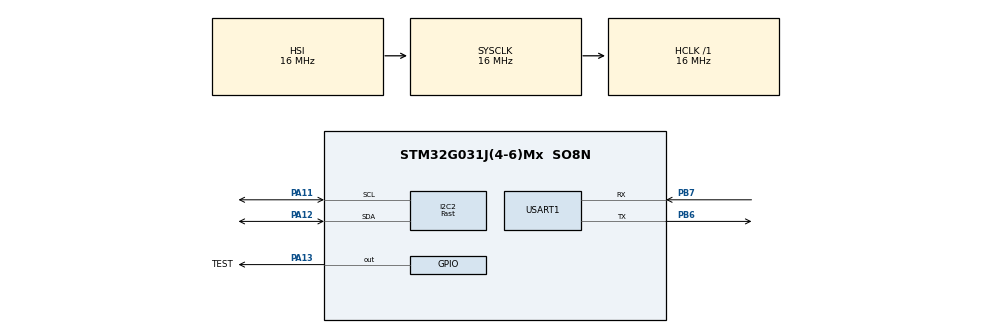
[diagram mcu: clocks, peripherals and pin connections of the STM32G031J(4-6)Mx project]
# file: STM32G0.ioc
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I2C2.I2C_Speed_Mode=I2C_Fast
I2C2.Timing=0x00300617
IWDG.Prescaler=IWDG_PRESCALER_32
IWDG.Reload=1024
IWDG.Window=1024
Mcu.Family=STM32G0
Mcu.Name=STM32G031J(4-6)Mx
Mcu.Package=SO8N
NVIC.TIM14_IRQn=true\:0\:0\:false\:false\:true\:true\:true\:true
NVIC.USART1_IRQn=true\:0\:0\:false\:false\:true\:true\:true\:true
PA11\ [PA9].Mode=I2C
PA11\ [PA9].Signal=I2C2_SCL
PA12\ [PA10].Mode=I2C
PA12\ [PA10].Signal=I2C2_SDA
PA13.GPIO_Label=TEST
PA13.Signal=GPIO_Output
PA14-BOOT0__PA15__PB5__PB6.StandardMode=true
PB0__PB1__PA8__PA11\ [PA9].StandardMode=true
PB6.Mode=Asynchronous
PB6.Signal=USART1_TX
PB7.Mode=Asynchronous
PB7.Signal=USART1_RX
PC14-OSC32_IN\ (PC14)__PB7__PB8__PB9.StandardMode=true
PF2\ -\ NRST__PA0__PA1__PA2.StandardMode=true
ProjectManager.HeapSize=0x200
ProjectManager.StackSize=0x400
ProjectManager.TargetToolchain=Makefile
RCC.AHBFreq_Value=16000000
RCC.CortexFreq_Value=16000000
RCC.EXTERNAL_CLOCK_VALUE=12288000
RCC.HCLKFreq_Value=16000000
RCC.HSE_VALUE=8000000
RCC.HSI_VALUE=16000000
RCC.LSE_VALUE=32768
RCC.SYSCLKFreq_VALUE=16000000
RCC.VCOOutputFreq_Value=128000000
TIM14.Period=399
USART1.VirtualMode-Asynchronous=VM_ASYNC
VP_IWDG_VS_IWDG.Mode=IWDG_Activate
VP_TIM14_VS_ClockSourceINT.Mode=Enable_Timer
board=custom

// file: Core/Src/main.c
/* USER CODE BEGIN Header */
/**
  ******************************************************************************
  * @file           : main.c
  * @brief          : Main program body
  ******************************************************************************
  * @attention
  *
  * Copyright (c) 2024 STMicroelectronics.
  * All rights reserved.
  *
  * This software is licensed under terms that can be found in the LICENSE file
  * in the root directory of this software component.
  * If no LICENSE file comes with this software, it is provided AS-IS.
  *
  ******************************************************************************
  */
/* USER CODE END Header */
#include "main.h"

/* USER CODE BEGIN Includes */
#include "mb.h"
#include "mt_port.h"
#include "string.h"

/* USER CODE END Includes */

/* USER CODE BEGIN PD */
#define REG_INPUT_START 1000
#define REG_INPUT_NREGS 13

#define I2C_ADDRESS_1115    0x4A //1115
#define I2C_ADDRESS_1115_1  0x4B //1115
#define I2C_ADDRESS_1110    0x48 //1110
#define I2C_ADDRESS_1110_1  0x49 //1110

//Define 1-shot read or continuous
#define ONESHOT_ON  0b10000001
#define ONESHOT_OFF 0

//Define Analog Inputs
#define AI0 0b01000000 //  AINP = AIN0 and AINN = GND
#define AI1 0b01010000 //  AINP = AIN1 and AINN = GND
#define AI2 0b01100000 //  AINP = AIN2 and AINN = GND
#define AI3 0b01110000 //  AINP = AIN3 and AINN = GND

//Define gain setting
#define GAIN1 0b00000000  //Full Scale Voltage is: 6.144 + or -
#define GAIN2 0b00000010  //FS 4.096
#define GAIN3 0b00000100  //FS 2.048
#define GAIN4 0b00000110  //FS 1.024
#define GAIN5 0b00001000  //FS  .512
#define GAIN6 0b00001010  //FS  .256
#define GAIN7 0b00001100  //FS  .256
#define GAIN8 0b00001110  //FS  .256

#define I2C_ID_ADDRESS                                           0xD0
#define I2C_TIMEOUT                                              50
/* USER CODE END PD */

I2C_HandleTypeDef hi2c2;

IWDG_HandleTypeDef hiwdg;

TIM_HandleTypeDef htim14;

UART_HandleTypeDef huart1;

/* USER CODE BEGIN PV */
static USHORT usRegInputStart = REG_INPUT_START;
static USHORT usRegInputBuf[REG_INPUT_NREGS] ;

uint8_t i2c_1115[2] = {I2C_ADDRESS_1115, I2C_ADDRESS_1115_1};
uint8_t i2c_1110[2] = {I2C_ADDRESS_1110, I2C_ADDRESS_1110_1};
/* USER CODE END PV */

void SystemClock_Config(void);
static void MX_GPIO_Init(void);
static void MX_I2C2_Init(void);
static void MX_USART1_UART_Init(void);
static void MX_TIM14_Init(void);
static void MX_IWDG_Init(void);

/* USER CODE BEGIN 0 */

static uint32_t lock_nesting_count = 0;
void __critical_enter(void)
{
    __disable_irq();
    ++lock_nesting_count;
}
void __critical_exit(void)
{
    /* Unlock interrupts only when we are exiting the outermost nested call. */
    --lock_nesting_count;
    if (lock_nesting_count == 0) {
        __enable_irq();
    }
}

typedef enum  {
  SEND_CONFIG = 0,
  WAIT_MEAS,
  SWITCH_REG,
} state_t;

uint8_t ai_arr[4] = {AI0, AI1, AI2, AI3};
static uint8_t ai = 0;

void readI2CRegs()
{
    static state_t state = SEND_CONFIG;
    uint8_t writeBuf[3] = {1, ONESHOT_ON + GAIN1, 0b11100000} ;
    writeBuf[1] = ONESHOT_ON + GAIN1 + ai_arr[ai];
    uint8_t writeBuf_110[2] = {1, 0b10000000} ;

    switch (state)
    {
    case SEND_CONFIG:

      for (int i = 0; i < 2; i++) {
        if (ai == 0) {
          HAL_I2C_Master_Transmit(&hi2c2, (i2c_1110[i] << 1), writeBuf_110, 2,  I2C_TIMEOUT);
          HAL_Delay(1);
        }

        #ifndef WITHOUT_115
        if (HAL_I2C_Master_Transmit(&hi2c2, (i2c_1115[i] << 1), writeBuf, 3,  I2C_TIMEOUT) == HAL_OK)
          usRegInputBuf[REG_INPUT_NREGS - 3] |= 1 << i;
        else
          usRegInputBuf[REG_INPUT_NREGS - 3] &= ~(1 << i);
        HAL_Delay(1);
        #endif
      }

      state++;
      break;

    case WAIT_MEAS:
      if (ai < 4 ) {
        #ifndef WITHOUT_115
        for (int i = 0; i < 2; i++) {
          if (usRegInputBuf[REG_INPUT_NREGS - 3] & (1 << i))
            do{
              HAL_I2C_Master_Receive(&hi2c2, (i2c_1115[i] << 1), writeBuf, 2,  I2C_TIMEOUT);
            } while ((writeBuf[0] & 0x80) == 0);
        }

        writeBuf[0] = 0;
        for (int i = 0; i < 2; i++)
          if (usRegInputBuf[REG_INPUT_NREGS - 3] & (1 << i))
            HAL_I2C_Master_Transmit(&hi2c2, (i2c_1115[i] << 1), writeBuf, 1,  I2C_TIMEOUT);

        for (int i=0; i < 2; i++)
          if (usRegInputBuf[REG_INPUT_NREGS - 3] & (1 << i))
            HAL_I2C_Master_Receive(&hi2c2, (i2c_1115[i] << 1),(uint8_t *) ( usRegInputBuf + i*4 + ai), 2,  I2C_TIMEOUT);
        #endif
        state = SEND_CONFIG;
        ai ++;
      } else {
        ai = 0;
        for (uint8_t i =0; i < 2; i++) {
          if (HAL_I2C_Master_Receive(&hi2c2, (i2c_1110[i] << 1), (uint8_t *)(usRegInputBuf + 8 + i), 2,  I2C_TIMEOUT) == HAL_OK)
            usRegInputBuf[REG_INPUT_NREGS - 3] |= (1 << (i + 2));
          else
            usRegInputBuf[REG_INPUT_NREGS - 3] &= ~(1 << (i +2));
        }
      }
    }

}

/* USER CODE END 0 */

int main(void)
{

  /* MCU Configuration--------------------------------------------------------*/

  /* Reset of all peripherals, Initializes the Flash interface and the Systick. */
  HAL_Init();

  /* Configure the system clock */
  SystemClock_Config();

  /* Initialize all configured peripherals */
  MX_GPIO_Init();
  MX_I2C2_Init();
  MX_USART1_UART_Init();
  MX_TIM14_Init();
  MX_IWDG_Init();
  /* USER CODE BEGIN 2 */
  uint8_t MSG[35] = {'\0'};
  char* MSG_1115_ERR="1115 transmit err\r\n";
  char* MSG_1115_OK="1115 transmit OK\r\n";
  char* MSG_1110_ERR="1110 transmit err\r\n";
  char* MSG_1110_OK="1110 transmit OK\r\n";

  uint8_t X = 0;

  MT_PORT_SetTimerModule(&htim14);
  MT_PORT_SetUartModule(&huart1);
  eMBErrorCode eStatus;
  eStatus = eMBInit(MB_RTU, 1, 0, 115200, MB_PAR_NONE);
  eStatus = eMBEnable();
  // memset (&usRegInputBuf,0, sizeof(usRegInputBuf));
  if (eStatus != MB_ENOERR)
  {
  // Error handling

  }

  /* USER CODE END 2 */

  /* Infinite loop */
  while (1)
  {

    /* USER CODE BEGIN 3 */

    readI2CRegs();
    usRegInputBuf[REG_INPUT_NREGS - 2] =  HAL_GetTick() / 1000;
    usRegInputBuf[REG_INPUT_NREGS - 1] =  HAL_GetTick();
    HAL_IWDG_Refresh(&hiwdg);
    eMBPoll();

  }
  /* USER CODE END 3 */
}

void SystemClock_Config(void)
{
  RCC_OscInitTypeDef RCC_OscInitStruct = {0};
  RCC_ClkInitTypeDef RCC_ClkInitStruct = {0};

  /** Configure the main internal regulator output voltage
  */
  HAL_PWREx_ControlVoltageScaling(PWR_REGULATOR_VOLTAGE_SCALE1);

  /** Initializes the RCC Oscillators according to the specified parameters
  * in the RCC_OscInitTypeDef structure.
  */
  RCC_OscInitStruct.OscillatorType = RCC_OSCILLATORTYPE_HSI|RCC_OSCILLATORTYPE_LSI;
  RCC_OscInitStruct.HSIState = RCC_HSI_ON;
  RCC_OscInitStruct.HSIDiv = RCC_HSI_DIV1;
  RCC_OscInitStruct.HSICalibrationValue = RCC_HSICALIBRATION_DEFAULT;
  RCC_OscInitStruct.LSIState = RCC_LSI_ON;
  RCC_OscInitStruct.PLL.PLLState = RCC_PLL_NONE;
  if (HAL_RCC_OscConfig(&RCC_OscInitStruct) != HAL_OK)
  {
    Error_Handler();
  }

  /** Initializes the CPU, AHB and APB buses clocks
  */
  RCC_ClkInitStruct.ClockType = RCC_CLOCKTYPE_HCLK|RCC_CLOCKTYPE_SYSCLK
                              |RCC_CLOCKTYPE_PCLK1;
  RCC_ClkInitStruct.SYSCLKSource = RCC_SYSCLKSOURCE_HSI;
  RCC_ClkInitStruct.AHBCLKDivider = RCC_SYSCLK_DIV1;
  RCC_ClkInitStruct.APB1CLKDivider = RCC_HCLK_DIV1;

  if (HAL_RCC_ClockConfig(&RCC_ClkInitStruct, FLASH_LATENCY_0) != HAL_OK)
  {
    Error_Handler();
  }
}

static void MX_I2C2_Init(void)
{

  hi2c2.Instance = I2C2;
  hi2c2.Init.Timing = 0x00300617;
  hi2c2.Init.OwnAddress1 = 0;
  hi2c2.Init.AddressingMode = I2C_ADDRESSINGMODE_7BIT;
  hi2c2.Init.DualAddressMode = I2C_DUALADDRESS_DISABLE;
  hi2c2.Init.OwnAddress2 = 0;
  hi2c2.Init.OwnAddress2Masks = I2C_OA2_NOMASK;
  hi2c2.Init.GeneralCallMode = I2C_GENERALCALL_DISABLE;
  hi2c2.Init.NoStretchMode = I2C_NOSTRETCH_DISABLE;
  if (HAL_I2C_Init(&hi2c2) != HAL_OK)
  {
    Error_Handler();
  }

  /** Configure Analogue filter
  */
  if (HAL_I2CEx_ConfigAnalogFilter(&hi2c2, I2C_ANALOGFILTER_ENABLE) != HAL_OK)
  {
    Error_Handler();
  }

  /** Configure Digital filter
  */
  if (HAL_I2CEx_ConfigDigitalFilter(&hi2c2, 0) != HAL_OK)
  {
    Error_Handler();
  }

}

static void MX_IWDG_Init(void)
{

  hiwdg.Instance = IWDG;
  hiwdg.Init.Prescaler = IWDG_PRESCALER_32;
  hiwdg.Init.Window = 1024;
  hiwdg.Init.Reload = 1024;
  if (HAL_IWDG_Init(&hiwdg) != HAL_OK)
  {
    Error_Handler();
  }

}

static void MX_TIM14_Init(void)
{

  htim14.Instance = TIM14;
  htim14.Init.Prescaler = 0;
  htim14.Init.CounterMode = TIM_COUNTERMODE_UP;
  htim14.Init.Period = 399;
  htim14.Init.ClockDivision = TIM_CLOCKDIVISION_DIV1;
  htim14.Init.AutoReloadPreload = TIM_AUTORELOAD_PRELOAD_DISABLE;
  if (HAL_TIM_Base_Init(&htim14) != HAL_OK)
  {
    Error_Handler();
  }

}

static void MX_USART1_UART_Init(void)
{

  huart1.Instance = USART1;
  huart1.Init.BaudRate = 115200;
  huart1.Init.WordLength = UART_WORDLENGTH_8B;
  huart1.Init.StopBits = UART_STOPBITS_1;
  huart1.Init.Parity = UART_PARITY_NONE;
  huart1.Init.Mode = UART_MODE_TX_RX;
  huart1.Init.HwFlowCtl = UART_HWCONTROL_NONE;
  huart1.Init.OverSampling = UART_OVERSAMPLING_16;
  huart1.Init.OneBitSampling = UART_ONE_BIT_SAMPLE_DISABLE;
  huart1.Init.ClockPrescaler = UART_PRESCALER_DIV1;
  huart1.AdvancedInit.AdvFeatureInit = UART_ADVFEATURE_NO_INIT;
  if (HAL_UART_Init(&huart1) != HAL_OK)
  {
    Error_Handler();
  }
  if (HAL_UARTEx_SetTxFifoThreshold(&huart1, UART_TXFIFO_THRESHOLD_1_8) != HAL_OK)
  {
    Error_Handler();
  }
  if (HAL_UARTEx_SetRxFifoThreshold(&huart1, UART_RXFIFO_THRESHOLD_1_8) != HAL_OK)
  {
    Error_Handler();
  }
  if (HAL_UARTEx_DisableFifoMode(&huart1) != HAL_OK)
  {
    Error_Handler();
  }

}

static void MX_GPIO_Init(void)
{
  GPIO_InitTypeDef GPIO_InitStruct = {0};

  /* GPIO Ports Clock Enable */
  __HAL_RCC_GPIOB_CLK_ENABLE();
  __HAL_RCC_GPIOA_CLK_ENABLE();

  /*Configure GPIO pin Output Level */
  HAL_GPIO_WritePin(TEST_GPIO_Port, TEST_Pin, GPIO_PIN_RESET);

  /*Configure GPIO pin : TEST_Pin */
  GPIO_InitStruct.Pin = TEST_Pin;
  GPIO_InitStruct.Mode = GPIO_MODE_OUTPUT_PP;
  GPIO_InitStruct.Pull = GPIO_NOPULL;
  GPIO_InitStruct.Speed = GPIO_SPEED_FREQ_LOW;
  HAL_GPIO_Init(TEST_GPIO_Port, &GPIO_InitStruct);

}

/* USER CODE BEGIN 4 */
eMBErrorCode eMBRegInputCB(UCHAR * pucRegBuffer, USHORT usAddress, USHORT usNRegs)
{
  eMBErrorCode eStatus = MB_ENOERR;
  int iRegIndex;
  if ((usAddress >= REG_INPUT_START) &&
      (usAddress + usNRegs <= REG_INPUT_START + REG_INPUT_NREGS))
  {
    iRegIndex = (int)(usAddress - usRegInputStart);
    while(usNRegs > 0)
    {
        *pucRegBuffer++ = (unsigned char)(usRegInputBuf[iRegIndex] >> 8);
        *pucRegBuffer++ = (unsigned char)(usRegInputBuf[iRegIndex] & 0xFF);
        iRegIndex++;
        usNRegs--;
    }
  }
  else
  {
    eStatus = MB_ENOREG;
  }
  return eStatus;
}
/*----------------------------------------------------------------------------*/
eMBErrorCode eMBRegHoldingCB(UCHAR * pucRegBuffer, USHORT usAddress, USHORT usNRegs,
                             eMBRegisterMode eMode)
{
  return MB_ENOREG;
}
/*----------------------------------------------------------------------------*/
eMBErrorCode eMBRegCoilsCB(UCHAR * pucRegBuffer, USHORT usAddress, USHORT usNCoils,
                           eMBRegisterMode eMode)
{
  return MB_ENOREG;
}
/*----------------------------------------------------------------------------*/
eMBErrorCode eMBRegDiscreteCB(UCHAR * pucRegBuffer, USHORT usAddress, USHORT usNDiscrete)
{
  return MB_ENOREG;
}
/*----------------------------------------------------------------------------*/
/* USER CODE END 4 */

void Error_Handler(void)
{
  __disable_irq();
  while (1)
  {
  }
}
